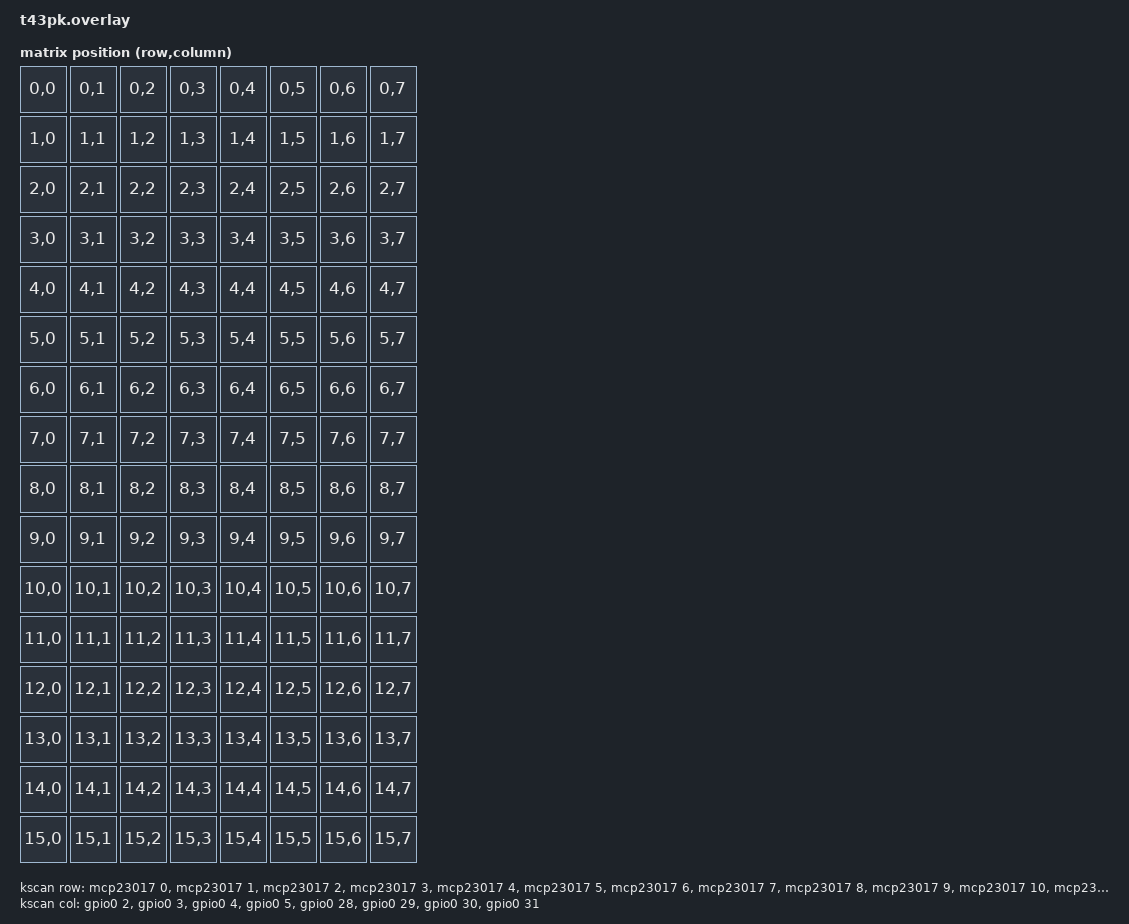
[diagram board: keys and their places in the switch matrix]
#include <dt-bindings/zmk/matrix_transform.h>
#include <dt-bindings/gpio/gpio.h>

/ {
    chosen {
        zmk,kscan = $kscan0;
        zmk,matrix_transform = $default_transform;
    };

    /* ---------- MCP23017 I2C 地址 0x20（默认全低） ---------- */
    mcp23017: gpio@20 {
        compatible = "microchip,mcp23017";
        reg = <0x20>;
        status = "okay";

        /* 可选：把两组端口都设为输入 + 上拉（键盘行常用上拉） */
        gpio-controller;
        #gpio-cells = <2>;

        /* Port A = row 0~7, Port B = row 8~15 */
        mcp23017_gpios: gpios {
            /* 所有 16 根行全部设为输入 + 上拉 */
            gpio-0 {  gpios = <&gpioa 0 GPIO_INPUT | GPIO_PULL_UP>; };
            gpio-1 {  gpios = <&gpioa 1 GPIO_INPUT | GPIO_PULL_UP>; };
            gpio-2 {  gpios = <&gpioa 2 GPIO_INPUT | GPIO_PULL_UP>; };
            gpio-3 {  gpios = <&gpioa 3 GPIO_INPUT | GPIO_PULL_UP>; };
            gpio-4 {  gpios = <&gpioa 4 GPIO_INPUT | GPIO_PULL_UP>; };
            gpio-5 {  gpios = <&gpioa 5 GPIO_INPUT | GPIO_PULL_UP>; };
            gpio-6 {  gpios = <&gpioa 6 GPIO_INPUT | GPIO_PULL_UP>; };
            gpio-7 {  gpios = <&gpioa 7 GPIO_INPUT | GPIO_PULL_UP>; };
            gpio-8 {  gpios = <&gpiob 0 GPIO_INPUT | GPIO_PULL_UP>; };
            gpio-9 {  gpios = <&gpiob 1 GPIO_INPUT | GPIO_PULL_UP>; };
            gpio-10 { gpios = <&gpiob 2 GPIO_INPUT | GPIO_PULL_UP>; };
            gpio-11 { gpios = <&gpiob 3 GPIO_INPUT | GPIO_PULL_UP>; };
            gpio-12 { gpios = <&gpiob 4 GPIO_INPUT | GPIO_PULL_UP>; };
            gpio-13 { gpios = <&gpiob 5 GPIO_INPUT | GPIO_PULL_UP>; };
            gpio-14 { gpios = <&gpiob 6 GPIO_INPUT | GPIO_PULL_UP>; };
            gpio-15 { gpios = <&gpiob 7 GPIO_INPUT | GPIO_PULL_UP>; };
        };
    };


    /* ---------- 启用 I2C0（nice!nano 默认引脚） ---------- */
    &i2c0 {
        status = "okay";
        sda-pin = <6>;   // P0.06
        scl-pin = <8>;   // P0.08  （nice!nano v2 板载 I2C 就是这俩）
        clock-frequency = <400000>;  // 400kHz，快一点没问题
        mcp23017@20 {
            compatible = "microchip,mcp23017";
            reg = <0x20>;
        };
    };

    &pinctrl {
        i2c0_default: i2c0_default {
            group1 {
                psels = <NRF_PSEL(I2C_SDA, 0, 6)>,
                        <NRF_PSEL(I2C_SCL, 0, 8)>;
                bias-pull-up;
                nordic,drive-mode = <NRF_DRIVE_S0D1>;
            };
        };
    }；    

/* ---------- 键盘矩阵扫描 ---------- */
    &kscan0: kscan {
        compatible = "zmk,kscan-gpio-mcp23017";
        label = "KSCAN";

        diode-direction = "col2row";   // 绝大多数键盘都是这个

        /* 8 列：全部用 nice!nano 低频引脚（推荐顺序） */
        col-gpios =
            <&gpio0  2 GPIO_ACTIVE_HIGH>,  // P0.02
            <&gpio0  3 GPIO_ACTIVE_HIGH>,  // P0.03
            <&gpio0  4 GPIO_ACTIVE_HIGH>,  // P0.04
            <&gpio0  5 GPIO_ACTIVE_HIGH>,  // P0.05
            <&gpio0 28 GPIO_ACTIVE_HIGH>,  // P0.28
            <&gpio0 29 GPIO_ACTIVE_HIGH>,  // P0.29
            <&gpio0 30 GPIO_ACTIVE_HIGH>,  // P0.30
            <&gpio0 31 GPIO_ACTIVE_HIGH>;  // P0.31

        /* 16 行：全部来自 MCP23017 */
        row-gpios =
            <&mcp23017  0 GPIO_ACTIVE_HIGH>,
            <&mcp23017  1 GPIO_ACTIVE_HIGH>,
            <&mcp23017  2 GPIO_ACTIVE_HIGH>,
            <&mcp23017  3 GPIO_ACTIVE_HIGH>,
            <&mcp23017  4 GPIO_ACTIVE_HIGH>,
            <&mcp23017  5 GPIO_ACTIVE_HIGH>,
            <&mcp23017  6 GPIO_ACTIVE_HIGH>,
            <&mcp23017  7 GPIO_ACTIVE_HIGH>,
            <&mcp23017  8 GPIO_ACTIVE_HIGH>,
            <&mcp23017  9 GPIO_ACTIVE_HIGH>,
            <&mcp23017 10 GPIO_ACTIVE_HIGH>,
            <&mcp23017 11 GPIO_ACTIVE_HIGH>,
            <&mcp23017 12 GPIO_ACTIVE_HIGH>,
            <&mcp23017 13 GPIO_ACTIVE_HIGH>,
            <&mcp23017 14 GPIO_ACTIVE_HIGH>,
            <&mcp23017 15 GPIO_ACTIVE_HIGH>;
    };

    /* ---------- 矩阵映射（这里写成标准 16×8 顺序） ---------- */
    transform0: matrix_transform {
        compatible = "zmk,matrix_transform";
        columns = <8>;
        rows = <16>;

        /* 完全顺序映射：物理第 0 行第 0 列 → keymap 第 0 行第 0 列 */
        map = <
            RC(0,0)  RC(0,1)  RC(0,2)  RC(0,3)  RC(0,4)  RC(0,5)  RC(0,6)  RC(0,7)
            RC(1,0)  RC(1,1)  RC(1,2)  RC(1,3)  RC(1,4)  RC(1,5)  RC(1,6)  RC(1,7)
            RC(2,0)  RC(2,1)  RC(2,2)  RC(2,3)  RC(2,4)  RC(2,5)  RC(2,6)  RC(2,7)
            RC(3,0)  RC(3,1)  RC(3,2)  RC(3,3)  RC(3,4)  RC(3,5)  RC(3,6)  RC(3,7)
            RC(4,0)  RC(4,1)  RC(4,2)  RC(4,3)  RC(4,4)  RC(4,5)  RC(4,6)  RC(4,7)
            RC(5,0)  RC(5,1)  RC(5,2)  RC(5,3)  RC(5,4)  RC(5,5)  RC(5,6)  RC(5,7)
            RC(6,0)  RC(6,1)  RC(6,2)  RC(6,3)  RC(6,4)  RC(6,5)  RC(6,6)  RC(6,7)
            RC(7,0)  RC(7,1)  RC(7,2)  RC(7,3)  RC(7,4)  RC(7,5)  RC(7,6)  RC(7,7)
            RC(8,0)  RC(8,1)  RC(8,2)  RC(8,3)  RC(8,4)  RC(8,5)  RC(8,6)  RC(8,7)
            RC(9,0)  RC(9,1)  RC(9,2)  RC(9,3)  RC(9,4)  RC(9,5)  RC(9,6)  RC(9,7)
            RC(10,0) RC(10,1) RC(10,2) RC(10,3) RC(10,4) RC(10,5) RC(10,6) RC(10,7)
            RC(11,0) RC(11,1) RC(11,2) RC(11,3) RC(11,4) RC(11,5) RC(11,6) RC(11,7)
            RC(12,0) RC(12,1) RC(12,2) RC(12,3) RC(12,4) RC(12,5) RC(12,6) RC(12,7)
            RC(13,0) RC(13,1) RC(13,2) RC(13,3) RC(13,4) RC(13,5) RC(13,6) RC(13,7)
            RC(14,0) RC(14,1) RC(14,2) RC(14,3) RC(14,4) RC(14,5) RC(14,6) RC(14,7)
            RC(15,0) RC(15,1) RC(15,2) RC(15,3) RC(15,4) RC(15,5) RC(15,6) RC(15,7)
        >;
    };
};
